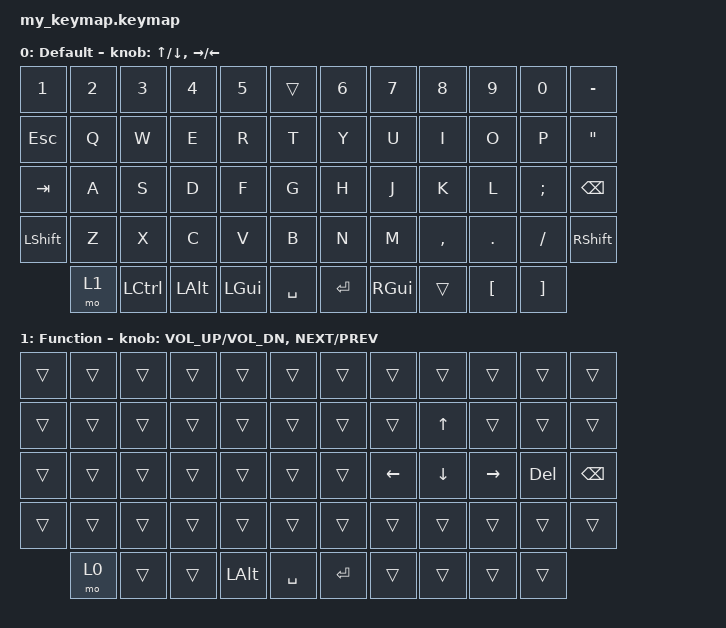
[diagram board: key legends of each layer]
/* My Sofle Choc v2 Keymap */
#include <dt-bindings/zmk/keys.h>
#include <dt-bindings/zmk/mouse.h>
#include <dt-bindings/zmk/hid_usage.h>

/ {
    keymap {
        compatible = "zmk,keymap";
        
        default_layer {
            label = "Default";
            bindings = <
// Top Row
&kp N1      &kp N2      &kp N3      &kp N4      &kp N5      &trans      &kp N6      &kp N7      &kp N8      &kp N9      &kp N0      &kp MINUS
// Home Row  
&kp ESC     &kp Q       &kp W       &kp E       &kp R       &kp T       &kp Y       &kp U       &kp I       &kp O       &kp P       &kp DQT
// Middle Row
&kp TAB     &kp A       &kp S       &kp D       &kp F       &kp G       &kp H       &kp J       &kp K       &kp L       &kp SEMI    &kp BSPC
// Bottom Row
&kp LSHFT   &kp Z       &kp X       &kp C       &kp V       &kp B       &kp N       &kp M       &kp COMMA   &kp DOT     &kp SLASH   &kp RSHFT
// Thumb Cluster (Left)                       // Thumb Cluster (Right)
            &mo 1       &kp LCTRL   &kp LALT    &kp LGUI    &kp SPACE   &kp RET     &kp RGUI    &trans      &kp LBKT    &kp RBKT
            >;
            sensor-bindings = <
                // Left encoder: Up/Down arrows [cite: 37]
                &inc_dec_kp UP DOWN
                // Right encoder: Right/Left arrows [cite: 37]
                &inc_dec_kp RIGHT LEFT
            >;
        };

        function_layer {
            label = "Function";
            bindings = <
&trans      &trans      &trans      &trans      &trans      &trans      &trans      &trans      &trans      &trans      &trans      &trans
&trans      &trans      &trans      &trans      &trans      &trans      &trans      &trans      &kp UP      &trans      &trans      &trans
&trans      &trans      &trans      &trans      &trans      &trans      &trans      &kp LEFT    &kp DOWN    &kp RIGHT   &kp DEL      &kp BSPC
&trans      &trans      &trans      &trans      &trans      &trans      &trans      &trans      &trans      &trans      &trans      &trans
                &mo 0       &trans      &trans      &kp LALT    &kp SPACE   &kp RET     &trans      &trans      &trans      &trans
            >;
            sensor-bindings = <
                // Left encoder: Volume up/down [cite: 43]
                &inc_dec_kp C_VOL_UP C_VOL_DN
                // Right encoder: Next/Previous track [cite: 43]
                &inc_dec_kp C_NEXT C_PREV
            >;
        };
    };
};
